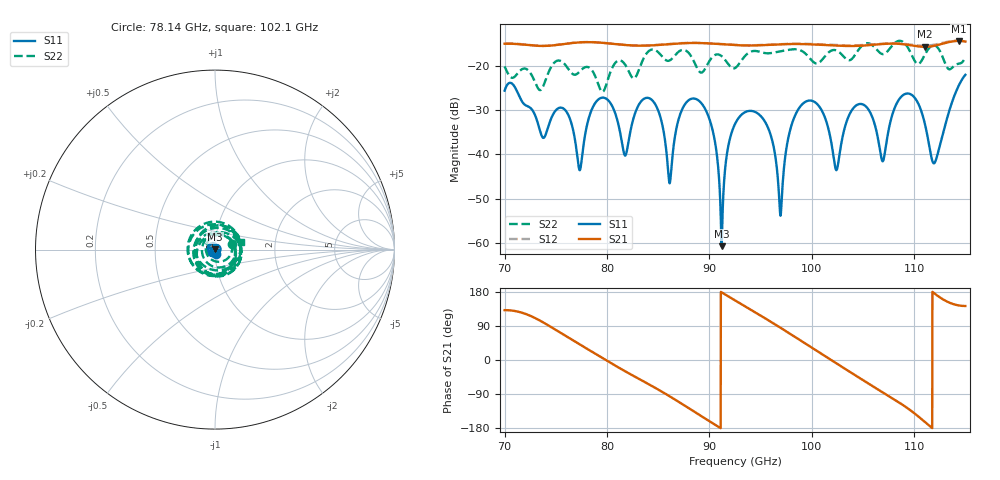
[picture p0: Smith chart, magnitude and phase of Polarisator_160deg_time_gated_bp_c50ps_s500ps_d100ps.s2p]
# Hz S RI R 1.000000
! Metas.Vna.Tools, 2.4.7898.19887
! Metas.Vna.Data, 2.4.7898.19873
! Created: UTC 2021.09.30 14:30:59
! FREQ  re:S1,1  im:S1,1  re:S2,1  im:S2,1  re:S1,2  im:S1,2  re:S2,2  im:S2,2
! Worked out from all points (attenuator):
!   2251 points, 70 GHz to 115 GHz, reference 1 ohm
!   highest |S21| = -14.27 dB at 114.3 GHz (marker M1); lowest = -15.6 dB at 111.1 GHz (marker M2)
!   lowest |S11| = -60.8 dB at 91.2 GHz (marker M3), VSWR 1.00, Z = 1 + j0.00179 ohm
!   |S11| at or under -10 dB: start of sweep to end of sweep
!   |S22| runs from -25.8 to -14.2 dB; largest |S21 - S12| = 0.032
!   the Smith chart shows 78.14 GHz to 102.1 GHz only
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7e10  0.0513 -0.0123  -0.1192 0.1344  -0.122 0.1338  0.085 -0.0514
7.584e10  -0.0321 -0.00508  0.0742 0.1627  0.0749 0.1628  0.0589 -0.0887
7.75e10  0.00818 -0.000694  0.1462 0.1164  0.1473 0.1159  0.00248 0.091
7.924e10  -0.0293 -0.031  0.1824 0.0331  0.1832 0.0326  -0.0218 -0.0542
8.176e10  -0.00968 -0.000644  0.1514 -0.086  0.1517 -0.0861  0.0338 -0.0991
8.5e10  -0.0125 0.0288  0.0363 -0.1702  0.0367 -0.1709  -0.0384 -0.1389
8.612e10  0.00442 -0.00162  -0.0179 -0.1772  -0.0176 -0.1783  -0.0465 0.1065
8.74e10  -0.0319 -0.0104  -0.0832 -0.1621  -0.0832 -0.1632  0.1281 -0.084
8.942e10  -0.00407 0.0351  -0.1609 -0.0864  -0.1615 -0.0868  0.021 0.0853
9.12e10  -0.000174 0.000895  -0.1774 0.00481  -0.178 0.00525  -0.0776 -0.1043
9.25e10  -0.00621 0.0212  -0.1602 0.0667  -0.1609 0.0672  0.0397 0.0867
9.542e10  0.00989 -0.0214  -0.0606 0.1628  -0.0627 0.1633  0.0162 0.1401
9.694e10  -0.00126 0.00158  0.0151 0.1765  0.0132 0.1777  -0.0184 -0.1467
9.806e10  0.0216 -0.00544  0.0725 0.1632  0.0715 0.165  -0.1089 0.1107
1e11  -0.0109 -0.0391  0.1492 0.095  0.1502 0.0969  0.00768 -0.1158
1.0238e11  -0.0043 -0.00507  0.1691 -0.0255  0.1722 -0.0234  0.1452 -0.0425
1.0436e11  -0.0214 -0.0291  0.1255 -0.1144  0.1312 -0.1125  -0.0112 0.1415
1.075e11  -0.00686 -0.0176  -0.0153 -0.1796  -0.007 -0.1821  -0.0125 0.1522
1.1106e11  -0.0151 0.0158  -0.1595 -0.0461  -0.1597 -0.0612  0.1095 0.0812
1.1202e11  -0.00801 0.00134  -0.1702 0.0158  -0.1759 -0.0041  0.0887 -0.147
1.1434e11  -0.0494 0.034  -0.1566 0.1137  -0.1751 0.0879  0.1047 0.0207
1.15e11  -0.0689 0.0406  -0.1511 0.1158  -0.1709 0.0907  0.026 -0.1246
